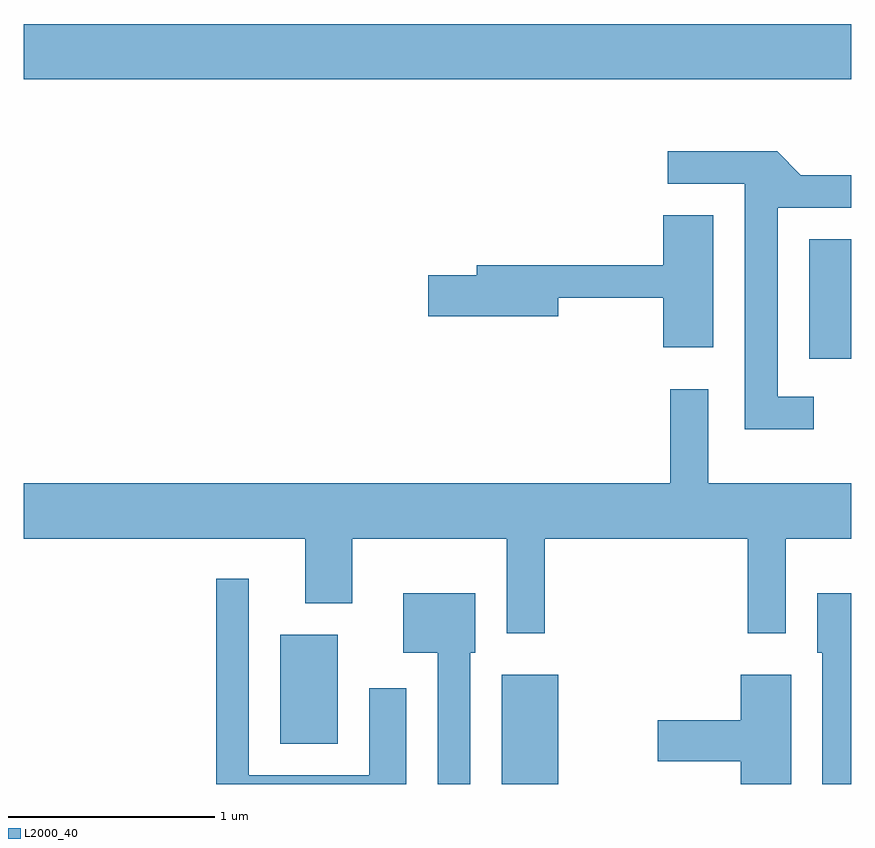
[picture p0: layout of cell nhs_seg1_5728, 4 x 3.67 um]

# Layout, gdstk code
import gdstk
lib = gdstk.Library(unit=1e-6, precision=1e-09)
def R(c, l, rs):  # rectangles x0, y0, x1, y1
    for r in rs: c.add(gdstk.rectangle(r[:2], r[2:], *l))
def P(c, l, *ps):  # polygons
    for p in ps: c.add(gdstk.Polygon(p, *l))
L2000_40 = (2000, 40)

nhs_seg1_5728 = lib.new_cell('nhs_seg1_5728')
R(nhs_seg1_5728, L2000_40, [(359.921,911.712,360.194,912.239), (358.851,911.906,359.129,912.434), (361.406,913.766,361.611,914.344), (357.611,915.116,361.611,915.384)])
P(nhs_seg1_5728, L2000_40, [(361.428,913.584),(361.254,913.584),(361.254,914.496),(361.611,914.496),(361.611,914.654),(361.367,914.654),(361.252,914.769),(360.723,914.769),(360.723,914.611),(361.096,914.611),(361.096,913.426),(361.428,913.426)],
  [(360.944,914.459),(360.701,914.459),(360.701,914.219),(359.801,914.219),(359.801,914.169),(359.566,914.169),(359.566,913.971),(360.194,913.971),(360.194,914.061),(360.701,914.061),(360.701,913.821),(360.944,913.821)],
  [(360.129,912.896),(361.111,912.896),(361.111,912.441),(361.294,912.441),(361.294,912.896),(361.611,912.896),(361.611,913.164),(360.919,913.164),(360.919,913.619),(360.736,913.619),(360.736,913.164),(357.611,913.164),(357.611,912.896),(358.971,912.896),(358.971,912.586),(359.199,912.586),(359.199,912.896),(359.946,912.896),(359.946,912.441),(360.129,912.441)],
  [(359.459,912.174),(359.281,912.174),(359.281,911.754),(358.699,911.754),(358.699,912.703),(358.541,912.703),(358.541,911.712),(359.459,911.712)],
  [(359.769,912.346),(359.794,912.346),(359.794,912.634),(359.446,912.634),(359.446,912.346),(359.611,912.346),(359.611,911.712),(359.769,911.712)],
  [(361.611,912.634),(361.446,912.634),(361.446,912.346),(361.471,912.346),(361.471,911.712),(361.611,911.712)],
  [(361.319,912.239),(361.076,912.239),(361.076,912.019),(360.676,912.019),(360.676,911.821),(361.076,911.821),(361.076,911.712),(361.319,911.712)])

lib.write_gds('nhs_seg1_5728.gds')
